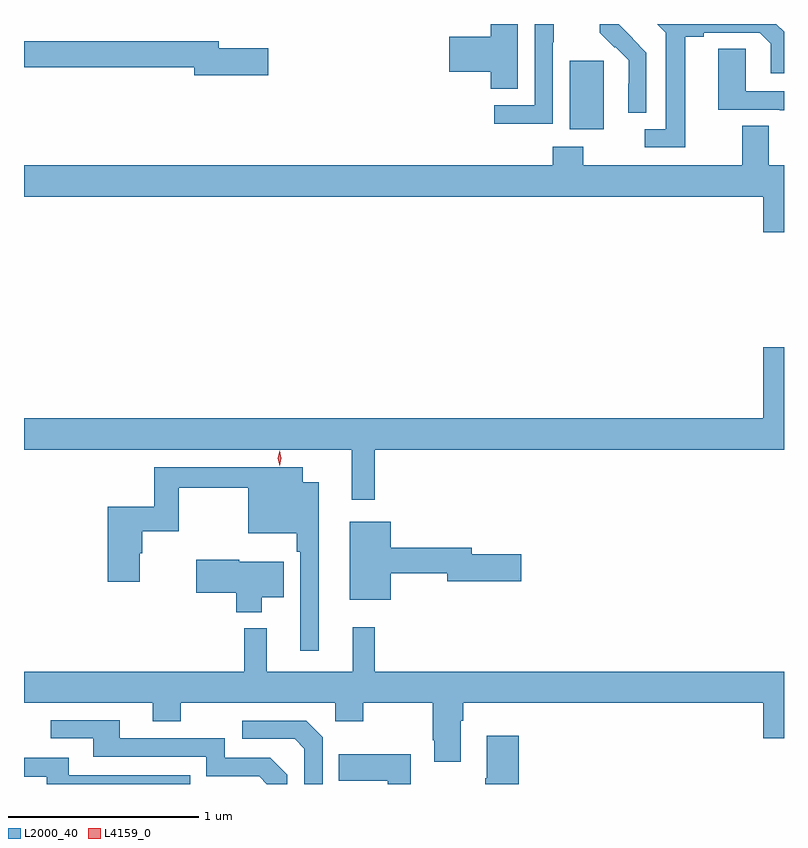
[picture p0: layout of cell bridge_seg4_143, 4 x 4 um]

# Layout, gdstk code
import gdstk
lib = gdstk.Library(unit=1e-6, precision=1e-09)
def R(c, l, rs):  # rectangles x0, y0, x1, y1
    for r in rs: c.add(gdstk.rectangle(r[:2], r[2:], *l))
def P(c, l, *ps):  # polygons
    for p in ps: c.add(gdstk.Polygon(p, *l))
L2000_40 = (2000, 40)
L4159_0 = (4159, 0)

bridge_seg4_143 = lib.new_cell('bridge_seg4_143')
R(bridge_seg4_143, L2000_40, [(187.967,755.882,188.146,756.243)])
P(bridge_seg4_143, L2000_40, [(188.575,756.368),(188.671,756.368),(188.671,756.39),(188.966,756.39),(189.023,756.333),(189.023,756.177),(189.094,756.177),(189.094,756.396),(189.054,756.436),(188.426,756.436),(188.471,756.391),(188.471,755.883),(188.361,755.883),(188.361,755.787),(188.575,755.787)],
  [(187.693,756.436),(187.55,756.436),(187.55,756.368),(187.332,756.368),(187.332,756.185),(187.55,756.185),(187.55,756.094),(187.693,756.094)],
  [(187.878,756.34),(187.881,756.34),(187.881,756.436),(187.782,756.436),(187.782,756.009),(187.569,756.009),(187.569,755.911),(187.878,755.911)],
  [(188.37,756.286),(188.297,756.359),(188.298,756.36),(188.224,756.434),(188.224,756.436),(188.125,756.436),(188.125,756.389),(188.202,756.312),(188.205,756.315),(188.276,756.245),(188.276,756.122),(188.274,756.122),(188.274,755.968),(188.37,755.968)],
  [(186.379,756.308),(186.118,756.308),(186.118,756.344),(185.094,756.344),(185.094,756.208),(185.99,756.208),(185.99,756.166),(186.379,756.166)],
  [(189.094,756.081),(188.892,756.081),(188.892,756.305),(188.747,756.305),(188.747,755.985),(189.071,755.985),(189.071,755.981),(189.094,755.981)],
  [(189.094,755.692),(189.013,755.692),(189.013,755.9),(188.873,755.9),(188.873,755.692),(188.037,755.692),(188.037,755.791),(187.877,755.791),(187.877,755.692),(185.094,755.692),(185.094,755.528),(188.984,755.528),(188.984,755.34),(189.094,755.34)],
  [(186.941,754.196),(189.094,754.196),(189.094,754.735),(188.984,754.735),(188.984,754.36),(185.094,754.36),(185.094,754.196),(186.82,754.196),(186.82,753.933),(186.941,753.933)],
  [(186.646,754.024),(186.562,754.024),(186.562,754.104),(185.779,754.104),(185.779,753.895),(185.534,753.895),(185.534,753.501),(185.704,753.501),(185.704,753.651),(185.717,753.651),(185.717,753.766),(185.908,753.766),(185.908,753.996),(186.275,753.996),(186.275,753.755),(186.529,753.755),(186.529,753.659),(186.549,753.659),(186.549,753.138),(186.646,753.138)],
  [(187.024,753.544),(187.322,753.544),(187.322,753.502),(187.711,753.502),(187.711,753.644),(187.45,753.644),(187.45,753.68),(187.024,753.68),(187.024,753.817),(186.809,753.817),(186.809,753.407),(187.024,753.407)],
  [(186.346,753.419),(186.46,753.419),(186.46,753.607),(186.228,753.607),(186.228,753.615),(186,753.615),(186,753.442),(186.212,753.442),(186.212,753.341),(186.346,753.341)],
  [(187.393,752.768),(187.406,752.768),(187.406,752.864),(188.984,752.864),(188.984,752.676),(189.094,752.676),(189.094,753.028),(186.941,753.028),(186.941,753.262),(186.824,753.262),(186.824,753.028),(186.371,753.028),(186.371,753.256),(186.253,753.256),(186.253,753.028),(185.094,753.028),(185.094,752.864),(185.771,752.864),(185.771,752.765),(185.919,752.765),(185.919,752.864),(186.732,752.864),(186.732,752.765),(186.879,752.765),(186.879,752.864),(187.246,752.864),(187.246,752.665),(187.253,752.665),(187.253,752.553),(187.393,752.553)],
  [(186.48,752.484),(186.39,752.574),(186.15,752.574),(186.15,752.676),(185.599,752.676),(185.599,752.772),(185.235,752.772),(185.235,752.676),(185.459,752.676),(185.459,752.58),(186.054,752.58),(186.054,752.477),(186.331,752.477),(186.372,752.436),(186.48,752.436)],
  [(186.666,752.682),(186.579,752.769),(186.243,752.769),(186.243,752.673),(186.519,752.673),(186.57,752.622),(186.57,752.436),(186.666,752.436)],
  [(187.697,752.689),(187.529,752.689),(187.529,752.465),(187.522,752.465),(187.522,752.436),(187.697,752.436)],
  [(187.129,752.593),(186.751,752.593),(186.751,752.453),(187.008,752.453),(187.008,752.436),(187.129,752.436)],
  [(185.969,752.481),(185.329,752.481),(185.329,752.575),(185.094,752.575),(185.094,752.475),(185.214,752.475),(185.214,752.436),(185.969,752.436)])
P(bridge_seg4_143, L4159_0, [(186.439,754.112),(186.439,754.112),(186.429,754.151),(186.439,754.191),(186.439,754.191),(186.439,754.191),(186.449,754.151),(186.439,754.112)])

lib.write_gds('bridge_seg4_143.gds')
